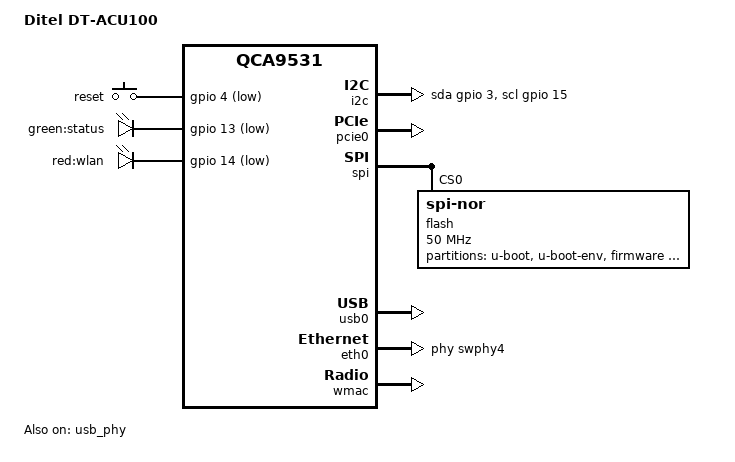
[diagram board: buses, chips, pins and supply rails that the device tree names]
// SPDX-License-Identifier: GPL-2.0-or-later OR MIT

#include "qca953x.dtsi"

#include <dt-bindings/gpio/gpio.h>
#include <dt-bindings/input/input.h>

/ {
	compatible = "ditel,dt-acu100", "qca,qca9531";
	model = "Ditel DT-ACU100";

	aliases {
		led-boot = &led_status;
		led-failsafe = &led_status;
		led-running = &led_status;
		led-upgrade = &led_status;
		label-mac-device = &eth0;
	};

	keys {
		compatible = "gpio-keys";

		reset {
			label = "reset";
			linux,code = <KEY_RESTART>;
			gpios = <&gpio 4 GPIO_ACTIVE_LOW>;
			debounce-interval = <60>;
		};
	};

	leds {
		compatible = "gpio-leds";

		led_status: status {
			label = "green:status";
			gpios = <&gpio 13 GPIO_ACTIVE_LOW>;
		};

		led_wlan: wlan {
			label = "red:wlan";
			gpios = <&gpio 14 GPIO_ACTIVE_LOW>;
			linux,default-trigger = "phy0tpt";
		};
	};

	i2c: i2c {
		compatible = "i2c-gpio";

		sda-gpios = <&gpio 3 (GPIO_ACTIVE_HIGH|GPIO_OPEN_DRAIN)>;
		scl-gpios = <&gpio 15 (GPIO_ACTIVE_HIGH|GPIO_OPEN_DRAIN)>;
	};
};

&pcie0 {
	status = "okay";
};

&spi {
	status = "okay";

	flash@0 {
		compatible = "jedec,spi-nor";
		reg = <0>;
		spi-max-frequency = <50000000>;
		m25p,fast-read;

		partitions {
			compatible = "fixed-partitions";
			#address-cells = <1>;
			#size-cells = <1>;

			partition@0 {
				label = "u-boot";
				reg = <0x000000 0x040000>;
				read-only;
			};

			partition@40000 {
				label = "u-boot-env";
				reg = <0x040000 0x010000>;
			};

			firmware: partition@50000 {
				label = "firmware";
				reg = <0x050000 0xf90000>;
				compatible = "denx,uimage";
			};

			ditel: partition@fe0000 {
				label = "ditel";
				reg = <0xfe0000 0x010000>;
				read-only;
			};

			art: partition@ff0000 {
				label = "art";
				reg = <0xff0000 0x010000>;
				read-only;
			};
		};
	};

};

&usb0 {
	#address-cells = <1>;
	#size-cells = <0>;
	status = "okay";
};

&usb_phy {
	status = "okay";
};

&eth0 {
	status = "okay";

	phy-handle = <&swphy4>;

	nvmem-cells = <&macaddr_art_0>;
	nvmem-cell-names = "mac-address";
};

&eth1 {
	compatible = "qca,qca9530-eth", "syscon", "simple-mfd";

	nvmem-cells = <&macaddr_art_6>;
	nvmem-cell-names = "mac-address";
};

&wmac {
	status = "okay";
	mtd-cal-data = <&art 0x1000>;
};

&art {
	compatible = "nvmem-cells";
	#address-cells = <1>;
	#size-cells = <1>;

	macaddr_art_0: macaddr@0 {
		reg = <0x0 0x6>;
	};

	macaddr_art_6: macaddr@6 {
		reg = <0x6 0x6>;
	};

};

